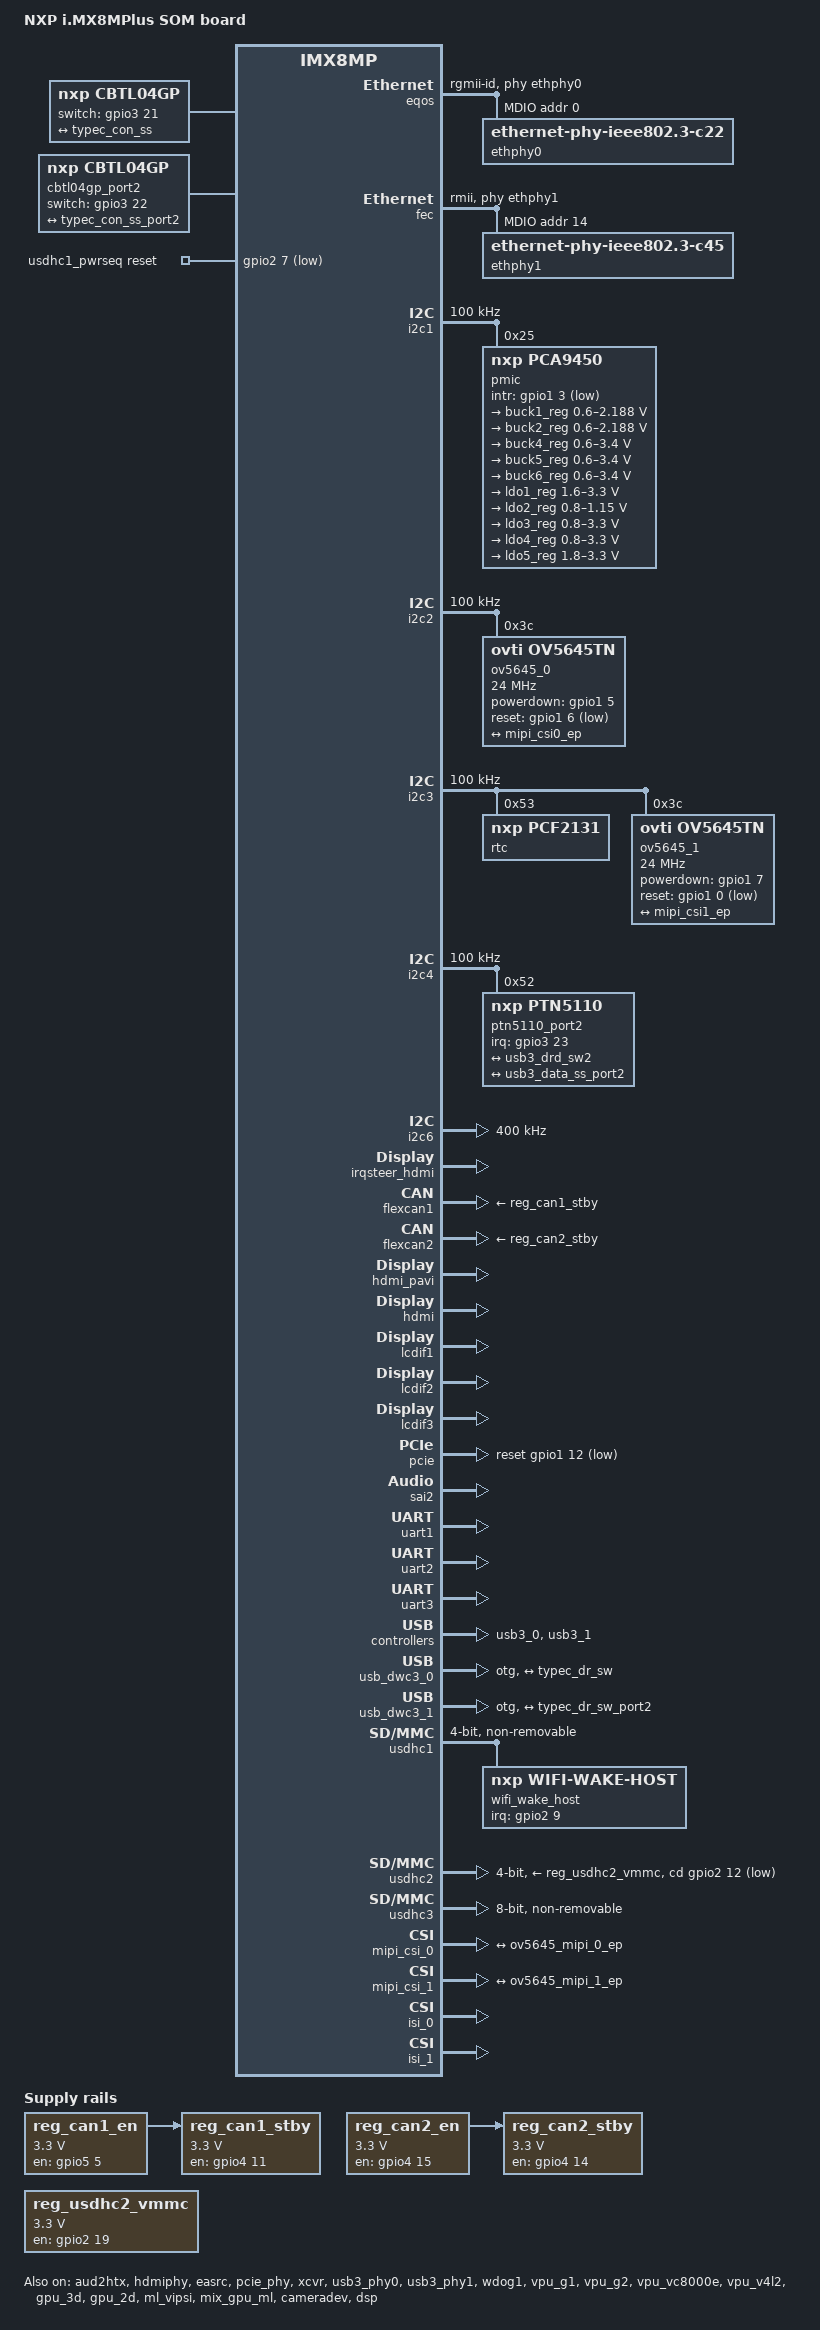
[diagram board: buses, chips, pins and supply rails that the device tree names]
// SPDX-License-Identifier: (GPL-2.0+ OR MIT)
/*
 * Copyright 2021 Emcraft Systems
 */

/dts-v1/;

#include <dt-bindings/usb/pd.h>
#include "imx8mp.dtsi"

/ {
	model = "NXP i.MX8MPlus SOM board";
	compatible = "fsl,imx8mp-som", "fsl,imx8mp-evk", "fsl,imx8mp";

	reserved-memory {
		#address-cells = <2>;
		#size-cells = <2>;
		ranges;

		rpmsg_reserved: rpmsg@0x55800000 {
			no-map;
			reg = <0 0x55800000 0 0x800000>;
		};
	};

	chosen {
		stdout-path = &uart2;
	};

/*
	leds {
		compatible = "gpio-leds";
		pinctrl-names = "default";
		pinctrl-0 = <&pinctrl_gpio_led>;

		status {
			label = "status";
			gpios = <&gpio3 16 GPIO_ACTIVE_HIGH>;
			default-state = "on"; // LED GREEN 
		};
	};
*/
	reg_can1_en: regulator-can1-gen {
		compatible = "regulator-fixed";
		regulator-name = "can1-en";
		pinctrl-names = "default";
		pinctrl-0 = <&pinctrl_flexcan1_reg_en>;
		regulator-min-microvolt = <3300000>;
		regulator-max-microvolt = <3300000>;
		gpio = <&gpio5 5 GPIO_ACTIVE_HIGH>;
		enable-active-high;
	};

        reg_can2_en: regulator-can2-gen {
                compatible = "regulator-fixed";
                regulator-name = "can2-en";
		pinctrl-names = "default";
		pinctrl-0 = <&pinctrl_flexcan2_reg_en>;
                regulator-min-microvolt = <3300000>;
                regulator-max-microvolt = <3300000>;
                gpio = <&gpio4 15 GPIO_ACTIVE_HIGH>;
                enable-active-high;
        };

	reg_can1_stby: regulator-can1-stby {
		compatible = "regulator-fixed";
		regulator-name = "can1-stby";
		pinctrl-names = "default";
		pinctrl-0 = <&pinctrl_flexcan1_reg_stby>;
		regulator-min-microvolt = <3300000>;
		regulator-max-microvolt = <3300000>;
		gpio = <&gpio4 11 GPIO_ACTIVE_HIGH>;
		enable-active-high;
		vin-supply = <&reg_can1_en>;
	};

	reg_can2_stby: regulator-can2-stby {
		compatible = "regulator-fixed";
		regulator-name = "can2-stby";
		pinctrl-names = "default";
		pinctrl-0 = <&pinctrl_flexcan2_reg_stby>;
		regulator-min-microvolt = <3300000>;
		regulator-max-microvolt = <3300000>;
		gpio = <&gpio4 14 GPIO_ACTIVE_HIGH>;
		enable-active-high;
		vin-supply = <&reg_can2_en>;
	};

/*	reg_usb1_host_vbus: regulator-usb1-vbus {
		compatible = "regulator-fixed";
		regulator-name = "usb1_host_vbus";
		pinctrl-names = "default";
		pinctrl-0 = <&pinctrl_usb1_vbus>;
		regulator-min-microvolt = <5000000>;
		regulator-max-microvolt = <5000000>;
		gpio = <&gpio1 14 GPIO_ACTIVE_HIGH>;
		enable-active-high;
		regulator-always-on;
	};*/

	reg_usdhc2_vmmc: regulator-usdhc2 {
		compatible = "regulator-fixed";
		regulator-name = "VSD_3V3";
		regulator-min-microvolt = <3300000>;
		regulator-max-microvolt = <3300000>;
		gpio = <&gpio2 19 GPIO_ACTIVE_HIGH>;
		enable-active-high;
		startup-delay-us = <100>;
		off-on-delay-us = <12000>;
	};

/*	reg_audio_pwr: regulator-audio-pwr {
		compatible = "regulator-fixed";
		regulator-name = "audio-pwr";
		regulator-min-microvolt = <3300000>;
		regulator-max-microvolt = <3300000>;
		gpio = <&gpio4 29 GPIO_ACTIVE_HIGH>;
		enable-active-high;
		regulator-always-on;
	};*/


	cbtl04gp {  // redriver switch, could be called PTN36043BXY
		compatible = "nxp,cbtl04gp";
		pinctrl-names = "default";
		pinctrl-0 = <&pinctrl_typec_mux>;
		switch-gpios = <&gpio3 21 GPIO_ACTIVE_HIGH>;
		orientation-switch;

		port {
			usb3_data_ss: endpoint {
				remote-endpoint = <&typec_con_ss>;
			};
		};
	};



        cbtl04gp_port2 {  // redriver switch, could be called PTN36043BXY
                compatible = "nxp,cbtl04gp";
                pinctrl-names = "default";
                pinctrl-0 = <&pinctrl_typec_mux_port2>;
                switch-gpios = <&gpio3 22 GPIO_ACTIVE_HIGH>;
                orientation-switch;

                port {
                        usb3_data_ss_port2: endpoint {
                                remote-endpoint = <&typec_con_ss_port2>;
                        };
                };

        };



/*
	bt_sco_codec: bt_sco_codec {
		#sound-dai-cells = <1>;
		compatible = "linux,bt-sco";
	};
*/

/*
	sound-bt-sco {
		compatible = "simple-audio-card";
		simple-audio-card,name = "bt-sco-audio";
		simple-audio-card,format = "dsp_a";
		simple-audio-card,bitclock-inversion;
		simple-audio-card,frame-master = <&btcpu>;
		simple-audio-card,bitclock-master = <&btcpu>;

		btcpu: simple-audio-card,cpu {
			sound-dai = <&sai2>;
			dai-tdm-slot-num = <2>;
			dai-tdm-slot-width = <16>;
		};

		simple-audio-card,codec {
			sound-dai = <&bt_sco_codec 1>;
		};
	};
*/


	sound-hdmi {
		compatible = "fsl,imx-audio-cdnhdmi";
		model = "audio-hdmi";
		audio-cpu = <&aud2htx>;
		hdmi-out;
		constraint-rate = <44100>,
				<88200>,
				<176400>,
				<32000>,
				<48000>,
				<96000>,
				<192000>;
		status = "okay";
	};



	/*sound-wm8960 {
		compatible = "fsl,imx7d-som-wm8960", "fsl,imx-audio-wm8960";
		model = "wm8960-audio";
		cpu-dai = <&sai3>;
		audio-codec = <&codec>;
		asrc-controller = <&easrc>;
		codec-master;
		// JD2: hp detect high for headphone
		hp-det = <3 0>;
		hp-det-gpios = <&gpio4 28 0>;
		mic-det-gpios = <&gpio4 28 0>;
		audio-routing =
			"Headphone Jack", "HP_L",
			"Headphone Jack", "HP_R",
			"Ext Spk", "SPK_LP",
			"Ext Spk", "SPK_LN",
			"Ext Spk", "SPK_RP",
			"Ext Spk", "SPK_RN",
			"LINPUT1", "Mic Jack",
			"LINPUT3", "Mic Jack",
			"Mic Jack", "MICB",
			"CPU-Playback", "ASRC-Playback",
			"Playback", "CPU-Playback",
			"ASRC-Capture", "CPU-Capture",
			"CPU-Capture", "Capture";
	};*/

/*
	sound-micfil {
		compatible = "fsl,imx-audio-micfil";
		model = "imx-audio-micfil";
		cpu-dai = <&micfil>;
	};
*/


	sound-xcvr {
		compatible = "fsl,imx-audio-xcvr";
		model = "imx-audio-xcvr";
		cpu-dai = <&xcvr>;
	};



/*
	lvds_backlight: lvds_backlight {
		compatible = "pwm-backlight";
		pwms = <&pwm2 0 100000>;
		status = "okay";

		brightness-levels = < 0  1  2  3  4  5  6  7  8  9
				     10 11 12 13 14 15 16 17 18 19
				     20 21 22 23 24 25 26 27 28 29
				     30 31 32 33 34 35 36 37 38 39
				     40 41 42 43 44 45 46 47 48 49
				     50 51 52 53 54 55 56 57 58 59
				     60 61 62 63 64 65 66 67 68 69
				     70 71 72 73 74 75 76 77 78 79
				     80 81 82 83 84 85 86 87 88 89
				     90 91 92 93 94 95 96 97 98 99
				    100>;
		default-brightness-level = <80>;
	};
*/

	usdhc1_pwrseq: usdhc1_pwrseq {
		compatible = "mmc-pwrseq-simple";
		reset-gpios = <&gpio2 7 GPIO_ACTIVE_LOW>;
	};

/*
        liteon_cam: tof@0 {
		compatible = "lton,liteon_tof";
		status = "okay";
		pinctrl-names = "default";
		pinctrl-0 = <&pinctrl_liteon>, <&pinctrl_csi_mclk>;
		clocks = <&clk IMX8MP_CLK_IPP_DO_CLKO2>;
		clock-names = "csi_mclk";
		assigned-clocks = <&clk IMX8MP_CLK_IPP_DO_CLKO2>;
		assigned-clock-parents = <&clk IMX8MP_CLK_24M>;
		assigned-clock-rates = <24000000>;
		mclk_source = <0>;
		mipi_csi;
		pwn-gpios = <&gpio1 7 GPIO_ACTIVE_LOW>;
		//rst-gpios = <&gpio1 0 GPIO_ACTIVE_HIGH>;
		port {
			liteon_csi_ep: endpoint {
				remote-endpoint = <&mipi_csi1_ep>;
				data-lanes = <1 2>;
				clock-lanes = <0>;
			};
		};
	};
*/
};

&aud2htx {
	status = "okay";
};

&clk {
	init-on-array = <IMX8MP_CLK_HSIO_ROOT>;
};

&A53_0 {
	cpu-supply = <&buck2_reg>;
};


/*
&pwm1 {
	pinctrl-names = "default";
	pinctrl-0 = <&pinctrl_pwm1>;
	status = "okay";
};

&pwm2 {
	pinctrl-names = "default";
	pinctrl-0 = <&pinctrl_pwm2>;
	status = "okay";
};

&pwm4 {
	pinctrl-names = "default";
	pinctrl-0 = <&pinctrl_pwm4>;
	status = "okay";
};
*/

/*
&ecspi2 {
	#address-cells = <1>;
	#size-cells = <0>;
	fsl,spi-num-chipselects = <1>;
	pinctrl-names = "default";
	pinctrl-0 = <&pinctrl_ecspi2 &pinctrl_ecspi2_cs>;
	cs-gpios = <&gpio5 13 GPIO_ACTIVE_LOW>;
//	status = "okay";

	spidev1: spi@0 {
		reg = <0>;
		compatible = "rohm,dh2228fv";
		spi-max-frequency = <500000>;
	};
};*/



&eqos {
	pinctrl-names = "default";
	pinctrl-0 = <&pinctrl_eqos>;
	phy-mode = "rgmii-id";  
	phy-handle = <&ethphy0>;
	status = "okay";

	mdio {
		compatible = "snps,dwmac-mdio";
		#address-cells = <1>;
		#size-cells = <0>;

		ethphy0: ethernet-phy@1 {
			compatible = "ethernet-phy-ieee802.3-c22";
			reg = <0>;
			at803x,hib-disabled;
			at803x,vddio-1p8v;
			eee-broken-1000t;
		};
	};
};



&fec {
	pinctrl-names = "default";
	pinctrl-0 = <&pinctrl_fec>;
	phy-mode = "rmii";
	phy-handle = <&ethphy1>;
	status = "okay";
	assigned-clock-parents = <&clk IMX8MP_SYS_PLL1_266M>,
							 <&clk IMX8MP_SYS_PLL2_100M>,
							 <&clk IMX8MP_SYS_PLL2_50M>,
							 <&clk IMX8MP_SYS_PLL2_50M>;
	assigned-clock-rates = <0>, <100000000>, <50000000>, <50000000>;
 
 	mdio {
		#address-cells = <1>;
		#size-cells = <0>;

		ethphy1: ethernet-phy@1 {
			compatible = "ethernet-phy-ieee802.3-c45";
			reg = <14>;
			eee-broken-1000t,vddio-3p3v;
		};
	};
};


/*
&flexspi {
	pinctrl-names = "default";
	pinctrl-0 = <&pinctrl_flexspi0>;
	status = "okay";

	flash0: mt25qu256aba@0 {
		reg = <0>;
		#address-cells = <1>;
		#size-cells = <1>;
		compatible = "jedec,spi-nor";
		spi-max-frequency = <80000000>;
		spi-tx-bus-width = <4>;
		spi-rx-bus-width = <4>;
	};
};
*/

&i2c1 {
	clock-frequency = <100000>;
	pinctrl-names = "default";
	pinctrl-0 = <&pinctrl_i2c1>;
	status = "okay";

	pmic: pca9450@25 {
		reg = <0x25>;
		compatible = "nxp,pca9450";
		/* PMIC PCA9450 PMIC_nINT GPIO1_IO3 */
		pinctrl-0 = <&pinctrl_pmic>;
		gpio_intr = <&gpio1 3 GPIO_ACTIVE_LOW>;

		regulators {
			#address-cells = <1>;
			#size-cells = <0>;

			pca9450,pmic-buck2-uses-i2c-dvs;
			/* Run/Standby voltage */
			pca9450,pmic-buck2-dvs-voltage = <950000>, <850000>;

			buck1_reg: regulator@0 {
				reg = <0>;
				regulator-compatible = "buck1";
				regulator-min-microvolt = <600000>;
				regulator-max-microvolt = <2187500>;
				regulator-boot-on;
				regulator-always-on;
				regulator-ramp-delay = <3125>;
			};

			buck2_reg: regulator@1 {
				reg = <1>;
				regulator-compatible = "buck2";
				regulator-min-microvolt = <600000>;
				regulator-max-microvolt = <2187500>;
				regulator-boot-on;
				regulator-always-on;
				regulator-ramp-delay = <3125>;
			};

			buck4_reg: regulator@3 {
				reg = <3>;
				regulator-compatible = "buck4";
				regulator-min-microvolt = <600000>;
				regulator-max-microvolt = <3400000>;
				regulator-boot-on;
				regulator-always-on;
			};

			buck5_reg: regulator@4 {
				reg = <4>;
				regulator-compatible = "buck5";
				regulator-min-microvolt = <600000>;
				regulator-max-microvolt = <3400000>;
				regulator-boot-on;
				regulator-always-on;
			};

			buck6_reg: regulator@5 {
				reg = <5>;
				regulator-compatible = "buck6";
				regulator-min-microvolt = <600000>;
				regulator-max-microvolt = <3400000>;
				regulator-boot-on;
				regulator-always-on;
			};

			ldo1_reg: regulator@6 {
				reg = <6>;
				regulator-compatible = "ldo1";
				regulator-min-microvolt = <1600000>;
				regulator-max-microvolt = <3300000>;
				regulator-boot-on;
				regulator-always-on;
			};

			ldo2_reg: regulator@7 {
				reg = <7>;
				regulator-compatible = "ldo2";
				regulator-min-microvolt = <800000>;
				regulator-max-microvolt = <1150000>;
				regulator-boot-on;
				regulator-always-on;
			};

			ldo3_reg: regulator@8 {
				reg = <8>;
				regulator-compatible = "ldo3";
				regulator-min-microvolt = <800000>;
				regulator-max-microvolt = <3300000>;
				regulator-boot-on;
				regulator-always-on;
			};

			ldo4_reg: regulator@9 {
				reg = <9>;
				regulator-compatible = "ldo4";
				regulator-min-microvolt = <800000>;
				regulator-max-microvolt = <3300000>;
				regulator-boot-on;
				regulator-always-on;
			};

			ldo5_reg: regulator@10 {
				reg = <10>;
				regulator-compatible = "ldo5";
				regulator-min-microvolt = <1800000>;
				regulator-max-microvolt = <3300000>;
			};
		};
	};
};

&i2c2 {
	clock-frequency = <100000>;
	pinctrl-names = "default";
	pinctrl-0 = <&pinctrl_i2c2>;
	status = "okay";

/*
	adv_bridge: adv7535@3d {
		compatible = "adi,adv7533";
		reg = <0x3d>;
		adi,addr-cec = <0x3b>;
		adi,dsi-lanes = <4>;
		status = "okay";

		port {
			adv7535_from_dsim: endpoint {
				remote-endpoint = <&dsim_to_adv7535>;
			};
		};
	};
*/

/*
	lvds_bridge: lvds-to-hdmi-bridge@4c {
		compatible = "ite,it6263";
		reg = <0x4c>;
		reset-gpios = <&gpio1 8 GPIO_ACTIVE_LOW>;

		port {
			it6263_in: endpoint {
				remote-endpoint = <&lvds_out>;
			};
		};
	};
*/

        ov5645_0: ov5645_mipi@3c {
                compatible = "ovti,ov5645tn";
                reg = <0x3c>;
                pinctrl-names = "default";
                pinctrl-0 = <&pinctrl_csi0_pwn>, <&pinctrl_csi0_rst>, <&pinctrl_csi_mclk>;
                clocks = <&clk IMX8MP_CLK_IPP_DO_CLKO2>;
                clock-names = "xclk";
                assigned-clocks = <&clk IMX8MP_CLK_IPP_DO_CLKO2>;
                assigned-clock-parents = <&clk IMX8MP_CLK_24M>;
                assigned-clock-rates = <24000000>;
		clock-frequency = <24000000>;
                csi_id = <0>;
                powerdown-gpios = <&gpio1 5 GPIO_ACTIVE_HIGH>;
                reset-gpios = <&gpio1 6 GPIO_ACTIVE_LOW>;
                mclk = <24000000>;
                mclk_source = <0>;
                mipi_csi;
                status = "okay";

                port {
                        ov5645_mipi_0_ep: endpoint {
                                remote-endpoint = <&mipi_csi0_ep>;
                                data-lanes = <1 2>;
                                clock-lanes = <0>;
                        };
                };
        };


/*
	ov5640_0: ov5640_mipi@3c {
		compatible = "ovti,ov5645_mipi"; // HG
		// compatible ="ovti,ov5640";  // otvi for the I2C driver
		//"ov5645_mipi";  -- this one will load MIPI ver only, and it will die in m2m-probe
		reg = <0x3c>;
		pinctrl-names = "default";
		pinctrl-0 = <&pinctrl_csi0_pwn>, <&pinctrl_csi0_rst>, <&pinctrl_csi_mclk>;
		clocks = <&clk IMX8MP_CLK_IPP_DO_CLKO1>;
		//clock-names = "xclk"; // -- for i2c driver
		clock-names = "csi_mclk";  // -- for MIPI driver
		assigned-clocks = <&clk IMX8MP_CLK_IPP_DO_CLKO1>;
		assigned-clock-parents = <&clk IMX8MP_CLK_24M>;
		assigned-clock-rates = <24000000>;
		csi_id = <0>;
		//pwn-gpios = <&gpio1 5 GPIO_ACTIVE_HIGH>; //GPIO_ACTIVE_HIGH --- for the I2C driver
		rst-gpios = <&gpio1 6 GPIO_ACTIVE_LOW>;
                clock-frequency = <24000000>;
		mclk = <24000000>;
		mclk_source = <0>;
		//mipi_csi;
		ae_target = <52>;
		status = "okay";

		port {
			ov5645_mipi_0_ep: endpoint {
				remote-endpoint = <&mipi_csi0_ep>;
				data-lanes = <1 2>;
				clock-lanes = <0>;
				//max-pixel-frequency = /bits/ 64 <266000000>;
			};
		};
	};
*/

};

&i2c3 {
	clock-frequency = <100000>;
	pinctrl-names = "default";
	pinctrl-0 = <&pinctrl_i2c3>;
	status = "okay";

	rtc@53 {
		compatible = "nxp,pcf2131";
		reg = <0x53>;
	};

        ov5645_1: ov5645_mipi@3c {
                compatible = "ovti,ov5645tn";
                reg = <0x3c>;
                pinctrl-names = "default";
                pinctrl-0 = <&pinctrl_csi1_pwn>, <&pinctrl_csi1_rst>, <&pinctrl_csi_mclk_extra>;
                clocks = <&clk IMX8MP_CLK_IPP_DO_CLKO2>;
                clock-names = "xclk";
                assigned-clocks = <&clk IMX8MP_CLK_IPP_DO_CLKO2>;
                assigned-clock-parents = <&clk IMX8MP_CLK_24M>;
                assigned-clock-rates = <24000000>;
		clock-frequency = <24000000>;
                csi_id = <1>;
                powerdown-gpios = <&gpio1 7 GPIO_ACTIVE_HIGH>;
                reset-gpios = <&gpio1 0 GPIO_ACTIVE_LOW>;
                mclk = <24000000>;
                mclk_source = <0>;
                mipi_csi;
                status = "okay";

                port {
                        ov5645_mipi_1_ep: endpoint {
                                remote-endpoint = <&mipi_csi1_ep>;
                                data-lanes = <1 2>;
                                clock-lanes = <0>;
                        };
                };
        };



/*

	ov5645_1: ov5645_mipi@3c {
		compatible = "ov5645_mipi";
		reg = <0x3c>;
		pinctrl-names = "default";
		pinctrl-0 = <&pinctrl_csi1_pwn>, <&pinctrl_csi1_rst>, <&pinctrl_csi_mclk_extra>;
		clocks = <&clk IMX8MP_CLK_IPP_DO_CLKO2>;
		//clock-names = "xclk";
                clock-names = "csi_mclk";
		assigned-clocks = <&clk IMX8MP_CLK_IPP_DO_CLKO2>;
		assigned-clock-parents = <&clk IMX8MP_CLK_24M>;
		assigned-clock-rates = <24000000>;
		csi_id = <0>;
		pwn-gpios = <&gpio1 7 GPIO_ACTIVE_HIGH>;
		rst-gpios = <&gpio1 0 GPIO_ACTIVE_LOW>;
		clock-frequency = <24000000>;	
		mclk = <24000000>;
		mclk_source = <0>;
		mipi_csi;
		ae_target = <52>;
		status = "disabled";

		port {
			ov5645_mipi_1_ep: endpoint {
				remote-endpoint = <&mipi_csi1_ep>;
				data-lanes = <1 2>;
				clock-lanes = <0>;
				//max-pixel-frequency = /bits/ 64 <266000000>;
			};
		};
	};
*/



};

&i2c4 {
        clock-frequency = <100000>;
        pinctrl-names = "default";
        pinctrl-0 = <&pinctrl_i2c4>;
        status = "okay";




        ptn5110: tcpc@51 {
                compatible = "nxp,ptn5110";
                pinctrl-names = "default";
                pinctrl-0 = <&pinctrl_typec>;
                reg = <0x51>;
                interrupt-parent = <&gpio4>;
                interrupts = <28 8>;
		status = "disabled";
		fault-status-mask = <0xef>;

                port {
                        typec_dr_sw: endpoint {
                                remote-endpoint = <&usb3_drd_sw>;
                        };
                };

                usb_con: connector {
                        compatible = "usb-c-connector";
                        label = "USB-C Port1";
                        power-role = "dual";
                        data-role = "dual";
                        try-power-role = "sink";
                        source-pdos = <PDO_FIXED(5000, 3000, PDO_FIXED_USB_COMM)>;
                        sink-pdos = <PDO_FIXED(5000, 3000, PDO_FIXED_USB_COMM)
                                     PDO_VAR(5000, 20000, 3000)>;
                        op-sink-microwatt = <15000000>;
                        /* self-powered; */

                        ports {
                                #address-cells = <1>;
                                #size-cells = <0>;

                                port@1 {
                                        reg = <1>;
                                        typec_con_ss: endpoint {
                                                remote-endpoint = <&usb3_data_ss>;
                                        };
                                };
                        };
                };
        };



	ptn5110_port2: tcpc_port2@52 {
                compatible = "nxp,ptn5110";
                pinctrl-names = "default";
                pinctrl-0 = <&pinctrl_typec_port2>;
                reg = <0x52>;
                interrupt-parent = <&gpio3>;
                interrupts = <23 8>;

                port {
                        typec_dr_sw_port2: endpoint {
                                remote-endpoint = <&usb3_drd_sw2>;
                        };
                };

                usb_con_port2: connector {
                        compatible = "usb-c-connector";
                        label = "USB-C Port2";
                        power-role = "dual";
                        data-role = "dual";
                        try-power-role = "source";
                        source-pdos = <PDO_FIXED(5000, 3000, PDO_FIXED_USB_COMM)>;
                        sink-pdos = <PDO_FIXED(5000, 3000, PDO_FIXED_USB_COMM)
                                     PDO_VAR(5000, 20000, 3000)>;
                        op-sink-microwatt = <15000000>;
                        self-powered;

                        ports {
                                #address-cells = <1>;
                                #size-cells = <0>;

                                port@1 {
                                        reg = <1>;
                                        typec_con_ss_port2: endpoint {
                                                remote-endpoint = <&usb3_data_ss_port2>;
                                        };
                                };
                        };
                };
        };



};

&i2c6 {
	clock-frequency = <400000>;
	pinctrl-names = "default";
	pinctrl-0 = <&pinctrl_i2c6>;
	status = "okay";
};

&irqsteer_hdmi {
	status = "okay";
};


&flexcan1 {
	pinctrl-names = "default";
	pinctrl-0 = <&pinctrl_flexcan1>;
	xceiver-supply = <&reg_can1_stby>;
	status = "okay";
};

&flexcan2 {
	pinctrl-names = "default";
	pinctrl-0 = <&pinctrl_flexcan2>;
	xceiver-supply = <&reg_can2_stby>;
	//pinctrl-assert-gpios = <&pca6416 3 GPIO_ACTIVE_HIGH>;
	status = "okay";// can2 pin conflict with pdm: gpio low select pdm, gpio high select can2 
};


/*

&hdmimix_clk {
	status = "okay";
};

&hdmimix_reset {
	status = "okay";
};
*/

&hdmi_pavi {
	status = "okay";
};

&hdmi {
	status = "okay";
};

&hdmiphy {
	status = "okay";
};



&lcdif1 {
	status = "okay";
};

&lcdif2 {
	status = "okay";
};

&lcdif3 {
	status = "okay";

	thres-low  = <1 2>;             // (FIFO * 1 / 2) 
	thres-high = <3 4>;             // (FIFO * 3 / 4) 
};



/*
&ldb {
	status = "okay";

	lvds-channel@0 {
		fsl,data-mapping = "jeida";
		fsl,data-width = <24>;
		status = "okay";

		port@1 {
			reg = <1>;

			lvds_out: endpoint {
				remote-endpoint = <&it6263_in>;
			};
		};
	};
};

&ldb_phy {
	status = "okay";
};
*/

/*
&mipi_dsi {
	status = "okay";

	port@1 {
		dsim_to_adv7535: endpoint {
			remote-endpoint = <&adv7535_from_dsim>;
			attach-bridge;
		};
	};
};
*/

&easrc {
	fsl,asrc-rate  = <48000>;
	status = "okay";
};


&micfil {
	pinctrl-names = "default";
	pinctrl-0 = <&pinctrl_pdm>;
	assigned-clocks = <&clk IMX8MP_CLK_PDM>;
	assigned-clock-parents = <&clk IMX8MP_AUDIO_PLL1_OUT>;
	assigned-clock-rates = <196608000>;
	status = "disabled";
};

&pcie{
	pinctrl-names = "default";
	pinctrl-0 = <&pinctrl_pcie>;
	//disable-gpio = <&gpio2 6 GPIO_ACTIVE_LOW>;
	reset-gpio = <&gpio1 12 GPIO_ACTIVE_LOW>;
	ext_osc = <0>;
	clocks = <&clk IMX8MP_CLK_HSIO_ROOT>,
		 <&clk IMX8MP_CLK_PCIE_AUX>,
		 <&clk IMX8MP_CLK_HSIO_AXI>,
		 <&clk IMX8MP_CLK_PCIE_ROOT>;
	clock-names = "pcie", "pcie_aux", "pcie_phy", "pcie_bus";
	assigned-clocks = <&clk IMX8MP_CLK_HSIO_AXI>,
			  <&clk IMX8MP_CLK_PCIE_AUX>;
	assigned-clock-rates = <500000000>, <10000000>;
	assigned-clock-parents = <&clk IMX8MP_SYS_PLL2_500M>,
				 <&clk IMX8MP_SYS_PLL2_50M>;
	status = "okay";
	/delete-node/ wifi_wake_host;
};

/*
&pcie_ep{
	pinctrl-names = "default";
	pinctrl-0 = <&pinctrl_pcie>;
	ext_osc = <1>;
	clocks = <&clk IMX8MP_CLK_HSIO_AXI_DIV>,
		 <&clk IMX8MP_CLK_PCIE_AUX>,
		 <&clk IMX8MP_CLK_PCIE_PHY>,
		 <&clk IMX8MP_CLK_PCIE_ROOT>;
	clock-names = "pcie", "pcie_aux", "pcie_phy", "pcie_bus";
	assigned-clocks = <&clk IMX8MP_CLK_HSIO_AXI_SRC>,
			  <&clk IMX8MP_CLK_PCIE_AUX>;
	assigned-clock-parents = <&clk IMX8MP_SYS_PLL2_500M>,
				 <&clk IMX8MP_SYS_PLL2_50M>;
	status = "disabled";
};
*/
&pcie_phy{
	status = "okay";
};

&sai2 {
	#sound-dai-cells = <0>;
	pinctrl-names = "default";
	pinctrl-0 = <&pinctrl_sai2>;
	assigned-clocks = <&clk IMX8MP_CLK_SAI2>;
	assigned-clock-parents = <&clk IMX8MP_AUDIO_PLL1_OUT>;
	assigned-clock-rates = <12288000>;
	status = "okay";
};

/*
&sai3 {
	pinctrl-names = "default";
	pinctrl-0 = <&pinctrl_sai3>;
	assigned-clocks = <&clk IMX8MP_CLK_SAI3>;
	assigned-clock-parents = <&clk IMX8MP_AUDIO_PLL1_OUT>;
	assigned-clock-rates = <12288000>;
	clocks = <&audiomix_clk IMX8MP_CLK_AUDIOMIX_SAI3_IPG>, <&clk IMX8MP_CLK_DUMMY>,
		 <&audiomix_clk IMX8MP_CLK_AUDIOMIX_SAI3_MCLK1>, <&clk IMX8MP_CLK_DUMMY>,
		 <&clk IMX8MP_CLK_DUMMY>;
	clock-names = "bus", "mclk0", "mclk1", "mclk2", "mclk3";
	fsl,sai-mclk-direction-output;
	status = "disabled";
};
*/

&xcvr {
	#sound-dai-cells = <0>;
	status = "okay";
};

&sdma2 {
	status = "okay";
};

&uart1 { /* BT */
	pinctrl-names = "default";
	pinctrl-0 = <&pinctrl_uart1>;
	assigned-clocks = <&clk IMX8MP_CLK_UART1>;
	assigned-clock-parents = <&clk IMX8MP_SYS_PLL1_80M>;
	fsl,uart-has-rtscts;
	status = "okay";
};

&uart2 {
	/* console */
	pinctrl-names = "default";
	pinctrl-0 = <&pinctrl_uart2>;
	status = "okay";
};

&uart3 {
	pinctrl-names = "default";
	pinctrl-0 = <&pinctrl_uart3>;
	assigned-clocks = <&clk IMX8MP_CLK_UART3>;
	assigned-clock-parents = <&clk IMX8MP_SYS_PLL1_80M>;
	fsl,uart-has-rtscts;
	status = "okay";
};






&usb3_phy0 {
	status = "okay";
};

&usb3_0 {
	status = "okay";
};

&usb_dwc3_0 {
	dr_mode = "otg";
	hnp-disable;
	srp-disable;
	adp-disable;
	usb-role-switch;
	status = "okay";

	port {
		usb3_drd_sw: endpoint {
			remote-endpoint = <&typec_dr_sw>;
		};
	};
};	
	



&usb3_phy1 {
        fsl,phy-tx-vref-tune = <6>;
        fsl,phy-tx-rise-tune = <0>;
        fsl,phy-tx-preemp-amp-tune = <3>;
        fsl,phy-comp-dis-tune = <7>;
        fsl,pcs-tx-deemph-3p5db = <0x21>;
        fsl,phy-pcs-tx-swing-full = <0x7f>;
	status = "okay";
};

&usb3_1 {
	status = "okay";
};

&usb_dwc3_1 {
	dr_mode = "otg";
        hnp-disable;
        srp-disable;
        adp-disable;
        usb-role-switch;
        status = "okay";

        port {
                usb3_drd_sw2: endpoint {
                        remote-endpoint = <&typec_dr_sw_port2>;
                };
        };
};




&usdhc1 {
	pinctrl-names = "default", "state_100mhz", "state_200mhz";
	pinctrl-0 = <&pinctrl_usdhc1>; //, <&pinctrl_wlan>;
	pinctrl-1 = <&pinctrl_usdhc1_100mhz>; //, <&pinctrl_wlan>;
	pinctrl-2 = <&pinctrl_usdhc1_200mhz>; //, <&pinctrl_wlan>;
	keep-power-in-suspend;
	bus-width = <4>;
	non-removable;
	wakeup-source;
	fsl,sdio-interrupt-enabled;
	status = "okay";
	mmc-pwrseq = <&usdhc1_pwrseq>;
	
	wifi_wake_host {
		compatible = "nxp,wifi-wake-host";
		interrupt-parent = <&gpio2>;
		interrupts = <9 IRQ_TYPE_LEVEL_LOW>;
		interrupt-names = "host-wake";
	};	

	/*
	brcmf: bcrmf@1 {
		reg = <1>;
		compatible = "brcm,bcm4329-fmac";
		interrupt-parent = <&gpio2>;
		interrupts = <9 IRQ_TYPE_LEVEL_HIGH>;
		interrupt-names = "host-wake";
	};
	*/
};

&usdhc2 {
	pinctrl-names = "default", "state_100mhz", "state_200mhz";
	pinctrl-0 = <&pinctrl_usdhc2>, <&pinctrl_usdhc2_gpio>;
	pinctrl-1 = <&pinctrl_usdhc2_100mhz>, <&pinctrl_usdhc2_gpio>;
	pinctrl-2 = <&pinctrl_usdhc2_200mhz>, <&pinctrl_usdhc2_gpio>;
	cd-gpios = <&gpio2 12 GPIO_ACTIVE_LOW>;
	vmmc-supply = <&reg_usdhc2_vmmc>;
	bus-width = <4>;
	status = "okay";
};

&usdhc3 {
	pinctrl-names = "default", "state_100mhz", "state_200mhz";
	pinctrl-0 = <&pinctrl_usdhc3>;
	pinctrl-1 = <&pinctrl_usdhc3_100mhz>;
	pinctrl-2 = <&pinctrl_usdhc3_200mhz>;
	bus-width = <8>;
	non-removable;
	status = "okay";
};

&wdog1 {
	pinctrl-names = "default";
	pinctrl-0 = <&pinctrl_wdog>;
	fsl,ext-reset-output;
	status = "okay";
};

&iomuxc {
	pinctrl-names = "default";
	pinctrl-0 = <&pinctrl_hog>;

	pinctrl_hog: hoggrp {
		fsl,pins = <
			MX8MP_IOMUXC_HDMI_DDC_SCL__HDMIMIX_HDMI_SCL	0x400001c3
			MX8MP_IOMUXC_HDMI_DDC_SDA__HDMIMIX_HDMI_SDA	0x400001c3
			MX8MP_IOMUXC_HDMI_HPD__HDMIMIX_HDMI_HPD		0x40000019
			MX8MP_IOMUXC_HDMI_CEC__HDMIMIX_HDMI_CEC		0x40000019
		>;
	};

	/*

	pinctrl_pwm1: pwm1grp {
		fsl,pins = <
			MX8MP_IOMUXC_GPIO1_IO01__PWM1_OUT	0x116
		>;
	};

	pinctrl_pwm2: pwm2grp {
		fsl,pins = <
			MX8MP_IOMUXC_GPIO1_IO11__PWM2_OUT	0x116
		>;
	};

	pinctrl_pwm4: pwm4grp {
		fsl,pins = <
			MX8MP_IOMUXC_SAI5_RXFS__PWM4_OUT	0x116
		>;
	};*/

	/*
	pinctrl_ecspi2: ecspi2grp {
		fsl,pins = <
			MX8MP_IOMUXC_ECSPI2_SCLK__ECSPI2_SCLK		0x82
			MX8MP_IOMUXC_ECSPI2_MOSI__ECSPI2_MOSI		0x82
			MX8MP_IOMUXC_ECSPI2_MISO__ECSPI2_MISO		0x82
		>;
	};

	pinctrl_ecspi2_cs: ecspi2cs {
		fsl,pins = <
			MX8MP_IOMUXC_ECSPI2_SS0__GPIO5_IO13		0x40000
		>;
	};*/


	pinctrl_eqos: eqosgrp {
		fsl,pins = <
			MX8MP_IOMUXC_ENET_MDC__ENET_QOS_MDC	0x3
			MX8MP_IOMUXC_ENET_MDIO__ENET_QOS_MDIO	0x3
			MX8MP_IOMUXC_ENET_RD0__ENET_QOS_RGMII_RD0	0x91
			MX8MP_IOMUXC_ENET_RD1__ENET_QOS_RGMII_RD1	0x91
			MX8MP_IOMUXC_ENET_RD2__ENET_QOS_RGMII_RD2	0x91
			MX8MP_IOMUXC_ENET_RD3__ENET_QOS_RGMII_RD3	0x91
			MX8MP_IOMUXC_ENET_RXC__CCM_ENET_QOS_CLOCK_GENERATE_RX_CLK	0x91
			MX8MP_IOMUXC_ENET_RX_CTL__ENET_QOS_RGMII_RX_CTL	0x91
			MX8MP_IOMUXC_ENET_TD0__ENET_QOS_RGMII_TD0		0x1f
			MX8MP_IOMUXC_ENET_TD1__ENET_QOS_RGMII_TD1		0x1f
			MX8MP_IOMUXC_ENET_TD2__ENET_QOS_RGMII_TD2		0x1f
			MX8MP_IOMUXC_ENET_TD3__ENET_QOS_RGMII_TD3		0x1f
			MX8MP_IOMUXC_ENET_TX_CTL__ENET_QOS_RGMII_TX_CTL	0x1f
			MX8MP_IOMUXC_ENET_TXC__CCM_ENET_QOS_CLOCK_GENERATE_TX_CLK	0x1f
			MX8MP_IOMUXC_SAI2_RXC__GPIO4_IO22		0x19
		>;
	};

	pinctrl_fec: fecgrp {
		fsl,pins = <
			MX8MP_IOMUXC_SAI1_RXD2__ENET1_MDC		0x3
			MX8MP_IOMUXC_SAI1_RXD3__ENET1_MDIO		0x3
			MX8MP_IOMUXC_SAI1_RXD4__ENET1_RGMII_RD0		0x91
			MX8MP_IOMUXC_SAI1_RXD5__ENET1_RGMII_RD1		0x91
			MX8MP_IOMUXC_SAI1_RXD6__ENET1_RGMII_RD2		0x91
			MX8MP_IOMUXC_SAI1_RXD7__ENET1_RGMII_RD3		0x91
			MX8MP_IOMUXC_SAI1_TXFS__ENET1_RGMII_RX_CTL	0x91
			MX8MP_IOMUXC_SAI1_TXD0__ENET1_RGMII_TD0		0x1f
			MX8MP_IOMUXC_SAI1_TXD1__ENET1_RGMII_TD1		0x1f
			MX8MP_IOMUXC_SAI1_TXD4__ENET1_RGMII_TX_CTL	0x1f
			MX8MP_IOMUXC_SAI1_TXD6__ENET1_RX_ER		0x1f
			MX8MP_IOMUXC_SAI1_TXD7__ENET1_TX_ER		0x1f
			MX8MP_IOMUXC_SAI1_MCLK__ENET1_TX_CLK		0x1f
			MX8MP_IOMUXC_SAI1_RXFS__ENET1_1588_EVENT0_IN	0x1f
			MX8MP_IOMUXC_SAI1_RXC__ENET1_1588_EVENT0_OUT	0x1f
		>;
	};

	//MX8MP_IOMUXC_SAI1_TXC__ENET1_RGMII_RXC          0x91
	//MX8MP_IOMUXC_SAI1_TXD2__ENET1_RGMII_TD2         0x1f
	//MX8MP_IOMUXC_SAI1_TXD3__ENET1_RGMII_TD3         0x1f
	//MX8MP_IOMUXC_SAI1_TXD5__ENET1_RGMII_TXC         0x1f
        //MX8MP_IOMUXC_SAI1_RXD0__GPIO4_IO02              0x19

	pinctrl_flexcan1: flexcan1grp {
		fsl,pins = <
			MX8MP_IOMUXC_SPDIF_RX__CAN1_RX          0x154
			MX8MP_IOMUXC_SPDIF_TX__CAN1_TX          0x154
		>;
	};

	pinctrl_flexcan2: flexcan2grp {
		fsl,pins = <
			MX8MP_IOMUXC_SAI5_MCLK__CAN2_RX		0x154
			MX8MP_IOMUXC_SAI5_RXD3__CAN2_TX		0x154
		>;
	};

	pinctrl_flexcan1_reg_stby: flexcan1reggrpstby {
		fsl,pins = <
			MX8MP_IOMUXC_SAI1_TXC__GPIO4_IO11	0x154	// CAN1_STBY
		>;
	};

	pinctrl_flexcan2_reg_stby: flexcan2reggrpstby {
		fsl,pins = <
			MX8MP_IOMUXC_SAI1_TXD2__GPIO4_IO14	0x154	// CAN2_STBY
		>;
	};

        pinctrl_flexcan1_reg_en: flexcan1reggrpen {
                fsl,pins = <
                        MX8MP_IOMUXC_SPDIF_EXT_CLK__GPIO5_IO05  0x154   // CAN1_EN 
                >;
        };

        pinctrl_flexcan2_reg_en: flexcan2reggrpen {
                fsl,pins = <
                        MX8MP_IOMUXC_SAI1_TXD3__GPIO4_IO15      0x154   // CAN2_EN 
                >;
        };

/*	pinctrl_flexspi0: flexspi0grp {
		fsl,pins = <
			MX8MP_IOMUXC_NAND_ALE__FLEXSPI_A_SCLK		0x1c2
			MX8MP_IOMUXC_NAND_CE0_B__FLEXSPI_A_SS0_B	0x82
			MX8MP_IOMUXC_NAND_DATA00__FLEXSPI_A_DATA00	0x82
			MX8MP_IOMUXC_NAND_DATA01__FLEXSPI_A_DATA01	0x82
			MX8MP_IOMUXC_NAND_DATA02__FLEXSPI_A_DATA02	0x82
			MX8MP_IOMUXC_NAND_DATA03__FLEXSPI_A_DATA03	0x82
		>;
	};*/

	pinctrl_gpio_led: gpioledgrp {
		fsl,pins = <
			MX8MP_IOMUXC_NAND_READY_B__GPIO3_IO16	0x19
		>;
	};

	pinctrl_i2c1: i2c1grp {
		fsl,pins = <
			MX8MP_IOMUXC_I2C1_SCL__I2C1_SCL		0x400001c3
			MX8MP_IOMUXC_I2C1_SDA__I2C1_SDA		0x400001c3
		>;
	};

	pinctrl_i2c2: i2c2grp {
		fsl,pins = <
			MX8MP_IOMUXC_I2C2_SCL__I2C2_SCL			0x400001c3
			MX8MP_IOMUXC_I2C2_SDA__I2C2_SDA			0x400001c3
		>;
	};

	pinctrl_i2c3: i2c3grp {
		fsl,pins = <
			MX8MP_IOMUXC_I2C3_SCL__I2C3_SCL			0x400001c3
			MX8MP_IOMUXC_I2C3_SDA__I2C3_SDA			0x400001c3
		>;
	};

	pinctrl_i2c4: i2c4grp {
                fsl,pins = <
                        MX8MP_IOMUXC_I2C4_SCL__I2C4_SCL                 0x400001c3
                        MX8MP_IOMUXC_I2C4_SDA__I2C4_SDA                 0x400001c3
                >;
        };

	pinctrl_i2c6: i2c6grp {
		fsl,pins = <
			MX8MP_IOMUXC_UART4_RXD__I2C6_SCL	0x400001c3
			MX8MP_IOMUXC_UART4_TXD__I2C6_SDA	0x400001c3
		>;
	};

/*
	pinctrl_mipi_dsi_en: mipi_dsi_en {
		fsl,pins = <
			MX8MP_IOMUXC_GPIO1_IO08__GPIO1_IO08	0x16
		>;
	};
*/

	pinctrl_pcie: pciegrp {
		fsl,pins = <
			// MX8MP_IOMUXC_I2C4_SCL__PCIE_CLKREQ_B		0x61 /* open drain, pull up */
			// MX8MP_IOMUXC_SD1_DATA4__GPIO2_IO06		0x41
			// MX8MP_IOMUXC_SD1_DATA5__GPIO2_IO07		0x41
		>;
	};

	pinctrl_pmic: pmicirq {
		fsl,pins = <
			MX8MP_IOMUXC_GPIO1_IO03__GPIO1_IO03	0x41
		>;
	};



	pinctrl_typec: typec1grp {
		fsl,pins = <
			MX8MP_IOMUXC_SAI3_RXFS__GPIO4_IO28	0x1c4
		>;
	};

        pinctrl_typec_port2: typec1grp_port2 {
                fsl,pins = <
                        MX8MP_IOMUXC_SAI5_RXD2__GPIO3_IO23     0x1c4
                >;
        };



	pinctrl_typec_mux: typec1muxgrp {
		fsl,pins = <
			MX8MP_IOMUXC_SAI5_RXD0__GPIO3_IO21 0x16
		>;
	};

        pinctrl_typec_mux_port2: typec1muxgrp_port2 {
                fsl,pins = <
                        MX8MP_IOMUXC_SAI5_RXD1__GPIO3_IO22 0x16
                >;
        };



	pinctrl_pdm: pdmgrp {
		fsl,pins = <
			MX8MP_IOMUXC_SAI5_RXC__AUDIOMIX_PDM_CLK			0xd6
			MX8MP_IOMUXC_SAI5_RXD0__AUDIOMIX_PDM_BIT_STREAM00	0xd6
			MX8MP_IOMUXC_SAI5_RXD1__AUDIOMIX_PDM_BIT_STREAM01	0xd6
			MX8MP_IOMUXC_SAI5_RXD2__AUDIOMIX_PDM_BIT_STREAM02	0xd6
			MX8MP_IOMUXC_SAI5_RXD3__AUDIOMIX_PDM_BIT_STREAM03	0xd6
		>;
	};

	pinctrl_sai2: sai2grp {
		fsl,pins = <
			MX8MP_IOMUXC_SAI2_TXC__AUDIOMIX_SAI2_TX_BCLK	0xd6
			MX8MP_IOMUXC_SAI2_TXFS__AUDIOMIX_SAI2_TX_SYNC	0xd6
			MX8MP_IOMUXC_SAI2_TXD0__AUDIOMIX_SAI2_TX_DATA00	0xd6
			MX8MP_IOMUXC_SAI2_RXD0__AUDIOMIX_SAI2_RX_DATA00	0xd6
		>;
	};

	pinctrl_sai3: sai3grp {
		fsl,pins = <
			MX8MP_IOMUXC_SAI3_TXFS__AUDIOMIX_SAI3_TX_SYNC	0xd6
			MX8MP_IOMUXC_SAI3_TXC__AUDIOMIX_SAI3_TX_BCLK	0xd6
			MX8MP_IOMUXC_SAI3_RXD__AUDIOMIX_SAI3_RX_DATA00	0xd6
			MX8MP_IOMUXC_SAI3_TXD__AUDIOMIX_SAI3_TX_DATA00	0xd6
			MX8MP_IOMUXC_SAI3_MCLK__AUDIOMIX_SAI3_MCLK	0xd6
			MX8MP_IOMUXC_SAI3_RXFS__GPIO4_IO28		0xd6
			MX8MP_IOMUXC_SAI3_RXC__GPIO4_IO29		0xd6
		>;
	};



/*
	pinctrl_i2c2_synaptics_dsx_io: synaptics_dsx_iogrp {
		fsl,pins = <
			MX8MP_IOMUXC_GPIO1_IO09__GPIO1_IO09		0x16
		>;
	};
*/

	pinctrl_uart1: uart1grp {
		fsl,pins = <
			MX8MP_IOMUXC_UART1_RXD__UART1_DCE_RX	0x140
			MX8MP_IOMUXC_UART1_TXD__UART1_DCE_TX	0x140
			MX8MP_IOMUXC_UART3_RXD__UART1_DCE_CTS	0x140
			MX8MP_IOMUXC_UART3_TXD__UART1_DCE_RTS	0x140
		>;
	};

	pinctrl_uart2: uart2grp {
		fsl,pins = <
			MX8MP_IOMUXC_UART2_RXD__UART2_DCE_RX	0x49
			MX8MP_IOMUXC_UART2_TXD__UART2_DCE_TX	0x49
		>;
	};

	pinctrl_uart3: uart3grp {
		fsl,pins = <
			MX8MP_IOMUXC_ECSPI1_SCLK__UART3_DCE_RX		0x140
			MX8MP_IOMUXC_ECSPI1_MOSI__UART3_DCE_TX		0x140
			MX8MP_IOMUXC_ECSPI1_SS0__UART3_DCE_RTS		0x140
			MX8MP_IOMUXC_ECSPI1_MISO__UART3_DCE_CTS		0x140
		>;
	};

	/*
	pinctrl_wlan: wlangrp {
		fsl,pins = <
			MX8MP_IOMUXC_SD1_RESET_B__USDHC1_RESET_B 0x1d6
                        MX8MP_IOMUXC_SD1_STROBE__USDHC1_STROBE  0x1d6
		>;
	};


	pinctrl_usdhc1_gpio: usdhc1grpgpio {
		fsl,pins = <
			MX8MP_IOMUXC_SD1_DATA5__GPIO2_IO07	0x11
			//MX8MP_IOMUXC_SD1_DATA6__GPIO2_IO08      0x11
                        //MX8MP_IOMUXC_SD1_DATA7__GPIO2_IO09      0x11
		>;
	};
	*/

	pinctrl_usdhc1: usdhc1grp {
		fsl,pins = <
			MX8MP_IOMUXC_SD1_CLK__USDHC1_CLK	0x190
			MX8MP_IOMUXC_SD1_CMD__USDHC1_CMD	0x1d0
			MX8MP_IOMUXC_SD1_DATA0__USDHC1_DATA0	0x1d0
			MX8MP_IOMUXC_SD1_DATA1__USDHC1_DATA1	0x1d0
			MX8MP_IOMUXC_SD1_DATA2__USDHC1_DATA2	0x1d0
			MX8MP_IOMUXC_SD1_DATA3__USDHC1_DATA3	0x1d0
			MX8MP_IOMUXC_SD1_DATA5__GPIO2_IO07	0x19
			MX8MP_IOMUXC_SD1_DATA7__GPIO2_IO09	0x1c4
		>;
	};

	pinctrl_usdhc1_100mhz: usdhc1grp-100mhz {
		fsl,pins = <
			MX8MP_IOMUXC_SD1_CLK__USDHC1_CLK	0x194
			MX8MP_IOMUXC_SD1_CMD__USDHC1_CMD	0x1d4
			MX8MP_IOMUXC_SD1_DATA0__USDHC1_DATA0	0x1d4
			MX8MP_IOMUXC_SD1_DATA1__USDHC1_DATA1	0x1d4
			MX8MP_IOMUXC_SD1_DATA2__USDHC1_DATA2	0x1d4
			MX8MP_IOMUXC_SD1_DATA3__USDHC1_DATA3	0x1d4	
			MX8MP_IOMUXC_SD1_DATA5__GPIO2_IO07	0x19
			MX8MP_IOMUXC_SD1_DATA7__GPIO2_IO09	0x1c4
		>;
	};

	pinctrl_usdhc1_200mhz: usdhc1grp-200mhz {
		fsl,pins = <
			MX8MP_IOMUXC_SD1_CLK__USDHC1_CLK	0x196
			MX8MP_IOMUXC_SD1_CMD__USDHC1_CMD	0x1d6
			MX8MP_IOMUXC_SD1_DATA0__USDHC1_DATA0	0x1d6
			MX8MP_IOMUXC_SD1_DATA1__USDHC1_DATA1	0x1d6
			MX8MP_IOMUXC_SD1_DATA2__USDHC1_DATA2	0x1d6
			MX8MP_IOMUXC_SD1_DATA3__USDHC1_DATA3	0x1d6	
			MX8MP_IOMUXC_SD1_DATA5__GPIO2_IO07	0x19
			MX8MP_IOMUXC_SD1_DATA7__GPIO2_IO09	0x1c4
		>;
	};

	pinctrl_usdhc2_gpio: usdhc2grp-gpio {
		fsl,pins = <
			MX8MP_IOMUXC_SD2_CD_B__GPIO2_IO12 	0x1c4
			MX8MP_IOMUXC_SD2_RESET_B__GPIO2_IO19	0x41
		>;
	};

	pinctrl_usdhc2: usdhc2grp {
		fsl,pins = <
			MX8MP_IOMUXC_SD2_CLK__USDHC2_CLK	0x190
			MX8MP_IOMUXC_SD2_CMD__USDHC2_CMD	0x1d0
			MX8MP_IOMUXC_SD2_DATA0__USDHC2_DATA0	0x1d0
			MX8MP_IOMUXC_SD2_DATA1__USDHC2_DATA1	0x1d0
			MX8MP_IOMUXC_SD2_DATA2__USDHC2_DATA2	0x1d0
			MX8MP_IOMUXC_SD2_DATA3__USDHC2_DATA3	0x1d0
			MX8MP_IOMUXC_GPIO1_IO04__USDHC2_VSELECT	0xc1
		>;
	};

	pinctrl_usdhc2_100mhz: usdhc2grp-100mhz {
		fsl,pins = <
			MX8MP_IOMUXC_SD2_CLK__USDHC2_CLK	0x194
			MX8MP_IOMUXC_SD2_CMD__USDHC2_CMD	0x1d4
			MX8MP_IOMUXC_SD2_DATA0__USDHC2_DATA0	0x1d4
			MX8MP_IOMUXC_SD2_DATA1__USDHC2_DATA1	0x1d4
			MX8MP_IOMUXC_SD2_DATA2__USDHC2_DATA2	0x1d4
			MX8MP_IOMUXC_SD2_DATA3__USDHC2_DATA3	0x1d4
			MX8MP_IOMUXC_GPIO1_IO04__USDHC2_VSELECT 0xc1
		>;
	};

	pinctrl_usdhc2_200mhz: usdhc2grp-200mhz {
		fsl,pins = <
			MX8MP_IOMUXC_SD2_CLK__USDHC2_CLK	0x196
			MX8MP_IOMUXC_SD2_CMD__USDHC2_CMD	0x1d6
			MX8MP_IOMUXC_SD2_DATA0__USDHC2_DATA0	0x1d6
			MX8MP_IOMUXC_SD2_DATA1__USDHC2_DATA1	0x1d6
			MX8MP_IOMUXC_SD2_DATA2__USDHC2_DATA2	0x1d6
			MX8MP_IOMUXC_SD2_DATA3__USDHC2_DATA3	0x1d6
			MX8MP_IOMUXC_GPIO1_IO04__USDHC2_VSELECT 0xc1
		>;
	};

	pinctrl_usdhc3: usdhc3grp {
		fsl,pins = <
			MX8MP_IOMUXC_NAND_WE_B__USDHC3_CLK	0x190
			MX8MP_IOMUXC_NAND_WP_B__USDHC3_CMD	0x1d0
			MX8MP_IOMUXC_NAND_DATA04__USDHC3_DATA0	0x1d0
			MX8MP_IOMUXC_NAND_DATA05__USDHC3_DATA1	0x1d0
			MX8MP_IOMUXC_NAND_DATA06__USDHC3_DATA2	0x1d0
			MX8MP_IOMUXC_NAND_DATA07__USDHC3_DATA3	0x1d0
			MX8MP_IOMUXC_NAND_RE_B__USDHC3_DATA4	0x1d0
			MX8MP_IOMUXC_NAND_CE2_B__USDHC3_DATA5	0x1d0
			MX8MP_IOMUXC_NAND_CE3_B__USDHC3_DATA6	0x1d0
			MX8MP_IOMUXC_NAND_CLE__USDHC3_DATA7	0x1d0
			MX8MP_IOMUXC_NAND_CE1_B__USDHC3_STROBE	0x190
		>;
	};

	pinctrl_usdhc3_100mhz: usdhc3grp-100mhz {
		fsl,pins = <
			MX8MP_IOMUXC_NAND_WE_B__USDHC3_CLK	0x194
			MX8MP_IOMUXC_NAND_WP_B__USDHC3_CMD	0x1d4
			MX8MP_IOMUXC_NAND_DATA04__USDHC3_DATA0	0x1d4
			MX8MP_IOMUXC_NAND_DATA05__USDHC3_DATA1	0x1d4
			MX8MP_IOMUXC_NAND_DATA06__USDHC3_DATA2	0x1d4
			MX8MP_IOMUXC_NAND_DATA07__USDHC3_DATA3	0x1d4
			MX8MP_IOMUXC_NAND_RE_B__USDHC3_DATA4	0x1d4
			MX8MP_IOMUXC_NAND_CE2_B__USDHC3_DATA5	0x1d4
			MX8MP_IOMUXC_NAND_CE3_B__USDHC3_DATA6	0x1d4
			MX8MP_IOMUXC_NAND_CLE__USDHC3_DATA7	0x1d4
			MX8MP_IOMUXC_NAND_CE1_B__USDHC3_STROBE	0x194
		>;
	};

	pinctrl_usdhc3_200mhz: usdhc3grp-200mhz {
		fsl,pins = <
			MX8MP_IOMUXC_NAND_WE_B__USDHC3_CLK	0x196
			MX8MP_IOMUXC_NAND_WP_B__USDHC3_CMD	0x1d6
			MX8MP_IOMUXC_NAND_DATA04__USDHC3_DATA0	0x1d6
			MX8MP_IOMUXC_NAND_DATA05__USDHC3_DATA1	0x1d6
			MX8MP_IOMUXC_NAND_DATA06__USDHC3_DATA2	0x1d6
			MX8MP_IOMUXC_NAND_DATA07__USDHC3_DATA3	0x1d6
			MX8MP_IOMUXC_NAND_RE_B__USDHC3_DATA4	0x1d6
			MX8MP_IOMUXC_NAND_CE2_B__USDHC3_DATA5	0x1d6
			MX8MP_IOMUXC_NAND_CE3_B__USDHC3_DATA6	0x1d6
			MX8MP_IOMUXC_NAND_CLE__USDHC3_DATA7	0x1d6
			MX8MP_IOMUXC_NAND_CE1_B__USDHC3_STROBE	0x196
		>;
	};

	pinctrl_wdog: wdoggrp {
		fsl,pins = <
			MX8MP_IOMUXC_GPIO1_IO02__WDOG1_WDOG_B	0xc6
		>;
	};

	
	pinctrl_csi0_pwn: csi0_pwn_grp {
		fsl,pins = <
			MX8MP_IOMUXC_GPIO1_IO05__GPIO1_IO05	0x19  //TBD: this pin should be open-drain only
		>;
	};

	
	pinctrl_csi0_rst: csi0_rst_grp {
		fsl,pins = <
			MX8MP_IOMUXC_GPIO1_IO06__GPIO1_IO06	0x19  //TBD: this pin should be open-drain only 
		>;
	};

        pinctrl_csi1_pwn: csi1_pwn_grp {
                fsl,pins = <
                        MX8MP_IOMUXC_GPIO1_IO07__GPIO1_IO07     0x19  //TBD: this pin should be open-drain only
                >;
        };

        pinctrl_csi1_rst: csi1_rst_grp {
                fsl,pins = <
                        MX8MP_IOMUXC_GPIO1_IO00__GPIO1_IO00     0x19  //TBD: this pin should be open-drain only
                >;
        };


	pinctrl_csi_mclk: csi_mclk_grp {
		fsl,pins = <
                        MX8MP_IOMUXC_GPIO1_IO14__CCM_CLKO1      0x59
		>;
	};


        pinctrl_csi_mclk_extra: csi_mclk_grp_extra {
                fsl,pins = <
                        MX8MP_IOMUXC_GPIO1_IO15__CCM_CLKO2      0x59
                >;
        };


	/*
	pinctrl_liteon: liteon_grp {
		fsl,pins = <
			MX8MP_IOMUXC_GPIO1_IO00__GPIO1_IO00	0x159
			MX8MP_IOMUXC_GPIO1_IO07__GPIO1_IO07	0x159
			MX8MP_IOMUXC_NAND_DQS__GPIO3_IO14	0x59
		>;
	};
	*/
};

&vpu_g1 {
	status = "okay";
};

&vpu_g2 {
	status = "okay";
};

&vpu_vc8000e {
	status = "okay";
};

&vpu_v4l2 {
        status = "okay";
};


&gpu_3d {
	status = "okay";
};

&gpu_2d {
	status = "okay";
};

&ml_vipsi {
	status = "okay";
};

&mix_gpu_ml {
	status = "okay";
};

&mipi_csi_0 {
	#address-cells = <1>;
	#size-cells = <0>;
	status = "okay";

	port@0 {
		reg = <0>;
		mipi_csi0_ep: endpoint {
			remote-endpoint = <&ov5645_mipi_0_ep>;
			data-lanes = <2>;
			csis-hs-settle = <13>;
			csis-clk-settle = <2>;
			csis-wclk;
		};
	};
};



&mipi_csi_1 {
	#address-cells = <1>;
	#size-cells = <0>;
	status = "okay";

	port@1 {
		reg = <1>;
		mipi_csi1_ep: endpoint {
			remote-endpoint = <&ov5645_mipi_1_ep>;
			data-lanes = <2>;
			csis-hs-settle = <13>;
			csis-clk-settle = <2>;
			csis-wclk;
		};
	};
};


&cameradev {
	status = "okay";
};

&isi_0 {
	//interface = <2 0 2>;
	status = "okay";

	cap_device {
		status = "okay";
	};

	m2m_device {
		status = "okay";
	};
};


&isi_1 {
	status = "okay";

	cap_device {
		status = "okay";
	};
};

/*
&cameradev {
        status = "okay";
};

&isi_0 {
        status = "disabled";
};

&isi_1 {
        status = "disabled";
};

&isp_0 {
        status = "okay";
};

&isp_1 {
        status = "okay";
};

&dewarp {
        status = "okay";
};

*/

&dsp {
	status = "okay";
};
